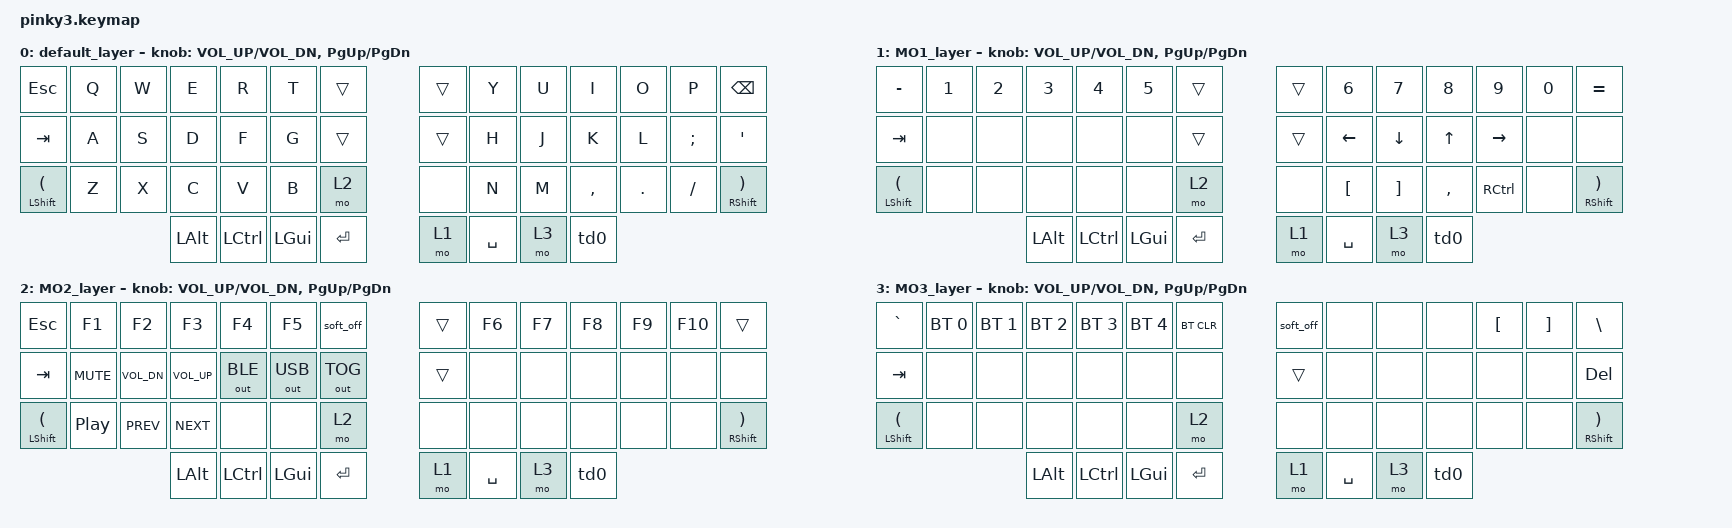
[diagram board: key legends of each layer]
#include <behaviors.dtsi>
#include <dt-bindings/zmk/keys.h>
#include <dt-bindings/zmk/outputs.h>
#include <dt-bindings/zmk/bt.h>


&soft_off {
	hold-time-ms = <5000>; // Only turn off if the key is held for more than 5 seconds;
};
    

/ {
	behaviors {
		td0: tap_dance_0 {
			compatible = "zmk,behavior-tap-dance";
			#binding-cells = <0>;
			tapping-term-ms = <200>;
			bindings = <&kp RALT>, <&kp LANG_HANJA>;
		};
	};

	keymap {
        compatible = "zmk,keymap";

        default_layer {
// --------------------------------------------------------------------------------------------------------------------------------------------------------------------
// |   ESC   |    Q    |    W    |    E    |    R    |    T    |         |              |         |    Y    |    U    |    I    |    O    |    P    |    BS   |
// |   TAB   |    A    |    S    |    D    |    F    |    G    |         |              |         |    H    |    J    |    K    |    L    |    ;    |    '    |
// |   LS(   |    Z    |    X    |    C    |    V    |    B    |  MO(2)  |              |         |    N    |    M    |    ,    |    .    |    /    |    RS)  |
//                               | OPTION  |   CTL   |   CMD   | RETURN  |              |  MO(1)  |  SPACE  |   MO(3) |TD(RALT,han)|
            bindings = <
    &kp ESC         &kp Q    &kp W    &kp E     &kp R     &kp T      &trans              &trans    &kp Y     &kp U     &kp I     &kp O     &kp P    &kp BSPC
    &kp TAB         &kp A    &kp S    &kp D     &kp F     &kp G      &trans              &trans    &kp H     &kp J     &kp K     &kp L     &kp SEMI &kp SQT
    &mt LSHIFT LPAR &kp Z    &kp X    &kp C     &kp V     &kp B      &mo 2               &none     &kp N     &kp M     &kp COMMA &kp DOT   &kp FSLH &mt RSHIFT RPAR
                                      &kp LALT  &kp LCTL  &kp LGUI   &kp RET             &mo 1     &kp SPACE &mo 3     &td0
            >;

            sensor-bindings = <&inc_dec_kp C_VOL_UP C_VOL_DN &inc_dec_kp PG_UP PG_DN>;
        };
		MO1_layer{
// --------------------------------------------------------------------------------------------------------------------------------------------------------------------
// |   -_    |    1    |    2    |    3    |    4    |    5    |         |              |         |    6    |    7    |    8    |    9    |    0    |   +=    |
// |   TAB   |         |         |         |         |         |         |              |         |  LEFT   |   DOWN  |    UP   |  RIGHT  |         |         |
// |   LS(   |         |         |         |         |         |  MO(2)  |              |         |   [{    |    ]}   |         |         |         |   RS)   |
//                               | OPTION  |   CTL   |   CMD   | RETURN  |              |  MO(1)  |  SPACE  |   MO(3) |TD(RALT,han)|
            bindings = <
    &kp MINUS       &kp N1   &kp N2   &kp N3    &kp N4    &kp N5     &trans              &trans    &kp N6    &kp N7    &kp N8    &kp N9    &kp N0   &kp EQUAL
    &kp TAB         &none    &none    &none     &none     &none      &trans              &trans    &kp LEFT  &kp DOWN  &kp UP    &kp RIGHT &none    &none
    &mt LSHIFT LPAR &none    &none    &none     &none     &none      &mo 2               &none     &kp LBKT  &kp RBKT  &kp COMMA &kp RCTL  &none    &mt RSHIFT RPAR
                                      &kp LALT  &kp LCTL  &kp LGUI   &kp RET             &mo 1     &kp SPACE &mo 3     &td0
            >;

            sensor-bindings = <&inc_dec_kp C_VOL_UP C_VOL_DN &inc_dec_kp PG_UP PG_DN>;
        };
		MO2_layer{
// --------------------------------------------------------------------------------------------------------------------------------------------------------------------
// |         |   F1    |    F2   |    F3   |   F4    |    F5   |soft_off |          |         |   F6    |   F7    |   F8    |   F9    |   F10   |         |
// |   TAB   |  MUTE   |  VOLD   |  VOLU   |   BT    |   USB   |   TOG   |          |         |         |         |         |         |         |         |
// |   LS(   |   PP    |  PREV   |  NEXT   |         |         |  MO(2)  |          |         |         |         |         |         |         |   RS)   |
//                               | OPTION  |   CTL   |   CMD   | RETURN  |          |  MO(1)  |  SPACE  |  MO(3)  |TD(RALT,han)|
            bindings = <
    &kp ESC         &kp F1     &kp F2        &kp F3        &kp F4       &kp F5       &soft_off           &trans    &kp F6    &kp F7    &kp F8    &kp F9    &kp F10  &trans
    &kp TAB         &kp C_MUTE &kp C_VOL_DN  &kp C_VOL_UP  &out OUT_BLE &out OUT_USB &out OUT_TOG        &trans    &none     &none     &none     &none     &none    &none
    &mt LSHIFT LPAR &kp C_PP   &kp C_PREV    &kp C_NEXT    &none        &none        &mo 2               &none     &none     &none     &none     &none     &none    &mt RSHIFT RPAR
                                             &kp LALT      &kp LCTL     &kp LGUI     &kp RET             &mo 1     &kp SPACE &mo 3     &td0
            >;

            sensor-bindings = <&inc_dec_kp C_VOL_UP C_VOL_DN &inc_dec_kp PG_UP PG_DN>;
        };
		MO3_layer{
// --------------------------------------------------------------------------------------------------------------------------------------------------------------------
// |   `~    |  PROF1  |  PROF2  |  PROF3  |  PROF4  |  PROF5  | BT_CLR  |          |         |         |         |         |   [{    |   ]}    |   \|    |
// |   TAB   |         |         |         |         |         |         |          |         |         |         |         |         |         |   DEL   |
// |   LS(   |         |         |         |         |         |  MO(2)  |          |         |         |         |         |         |         |   RS)   |
//                               | OPTION  |   CTL   |   CMD   | RETURN  |          |  MO(1)  |  SPACE  |  MO(3)  |TD(RALT,han)|
            bindings = <
    &kp GRAVE       &bt BT_SEL 0 &bt BT_SEL 1 &bt BT_SEL 2 &bt BT_SEL 3 &bt BT_SEL 4 &bt BT_CLR          &soft_off    &none     &none     &none     &kp LBKT  &kp RBKT &kp BSLH
    &kp TAB         &none        &none        &none        &none        &none        &none               &trans       &none     &none     &none     &none     &none    &kp DEL
    &mt LSHIFT LPAR &none        &none        &none        &none        &none        &mo 2               &none        &none     &none     &none     &none     &none    &mt RSHIFT RPAR
                                              &kp LALT     &kp LCTL     &kp LGUI     &kp RET             &mo 1        &kp SPACE &mo 3     &td0
            >;

            sensor-bindings = <&inc_dec_kp C_VOL_UP C_VOL_DN &inc_dec_kp PG_UP PG_DN>;
        };
    };
};
